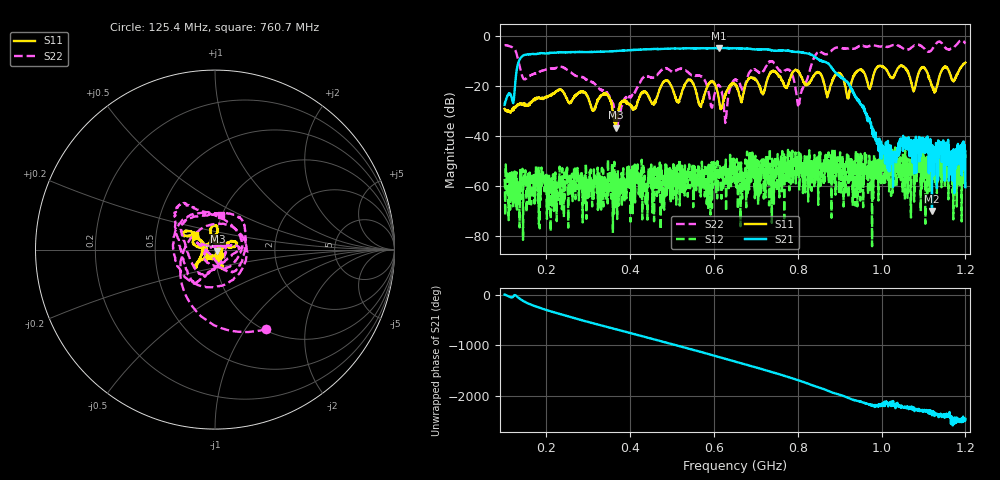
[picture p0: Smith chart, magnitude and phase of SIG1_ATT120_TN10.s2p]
# Hz S DB R 50
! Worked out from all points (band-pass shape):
!   1601 points, 100 MHz to 1.2 GHz, reference 50 ohm
!   highest |S21| = -4.63 dB at 611.5 MHz (marker M1); lowest = -69.8 dB at 1.12 GHz (marker M2)
!   |S21| within 3 dB of the highest: 144.7 MHz to 835.3 MHz (690.6 MHz wide, 141 % of centre)
!   lowest |S11| = -36.6 dB at 365.4 MHz (marker M3), VSWR 1.03, Z = 51.3 - j0.708 ohm
!   |S11| at or under -10 dB: start of sweep to end of sweep
!   |S22| runs from -35.6 to -1.6 dB; largest |S21 - S12| = 0.59
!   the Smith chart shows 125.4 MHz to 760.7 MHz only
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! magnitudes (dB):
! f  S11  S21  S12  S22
! 100 MHz  -29.0  -27.4  -57.0  -3.5
! 144 MHz  -27.3  -7.7  -81.4  -16.6
! 283.6 MHz  -22.2  -6.3  -53.7  -16.3
! 344.1 MHz  -23.1  -6.0  -58.2  -22.5
! 365.4 MHz  -36.6  -5.9  -68.2  -31.5
! 467.1 MHz  -22.6  -5.0  -57.2  -14.7
! 542.1 MHz  -17.4  -4.8  -54.8  -14.9
! 567.5 MHz  -27.8  -4.8  -56.8  -15.8
! 594.3 MHz  -18.2  -4.7  -50.3  -28.4
! 611.5 MHz  -25.1  -4.6  -54.0  -19.4
! 627.3 MHz  -22.9  -4.7  -55.6  -33.8
! 650 MHz  -19.2  -4.8  -59.0  -17.5
! 716.7 MHz  -23.2  -5.2  -54.4  -14.2
! 737.3 MHz  -14.2  -5.5  -53.6  -9.9
! 782.7 MHz  -16.4  -5.9  -53.7  -14.0
! 801.9 MHz  -13.9  -6.2  -46.4  -27.5
! 833.6 MHz  -16.8  -7.4  -52.9  -10.8
! 919.5 MHz  -24.8  -18.7  -54.5  -4.8
! 945.6 MHz  -13.5  -26.3  -47.6  -4.0
! 1.017 GHz  -15.2  -50.7  -48.6  -4.1
! 1.12 GHz  -19.8  -69.8  -51.3  -5.3
! 1.2 GHz  -10.5  -60.3  -48.9  -2.9
